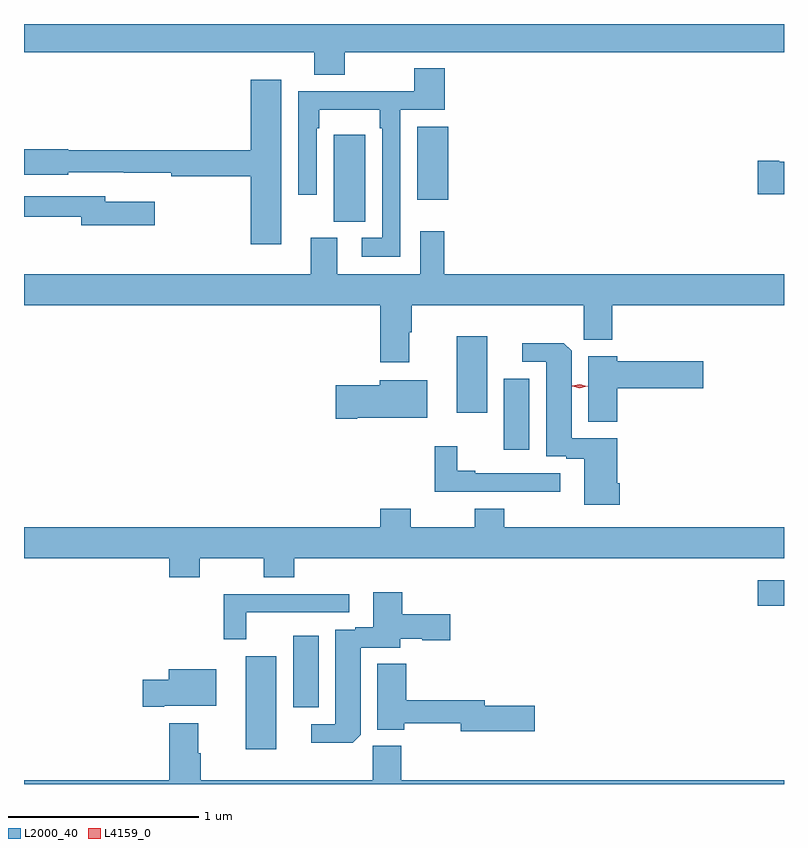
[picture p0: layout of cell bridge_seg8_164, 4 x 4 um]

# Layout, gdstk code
import gdstk
lib = gdstk.Library(unit=1e-6, precision=1e-09)
def R(c, l, rs):  # rectangles x0, y0, x1, y1
    for r in rs: c.add(gdstk.rectangle(r[:2], r[2:], *l))
def P(c, l, *ps):  # polygons
    for p in ps: c.add(gdstk.Polygon(p, *l))
L2000_40 = (2000, 40)
L4159_0 = (4159, 0)

bridge_seg8_164 = lib.new_cell('bridge_seg8_164')
R(bridge_seg8_164, L2000_40, [(565.367,1107.504,565.528,1107.994), (565.616,1107.726,565.75,1108.102), (568.062,1108.259,568.2,1108.393), (566.726,1109.079,566.86,1109.455), (566.477,1109.274,566.638,1109.677), (565.829,1110.281,565.996,1110.739), (566.27,1110.395,566.434,1110.781)])
P(bridge_seg8_164, L2000_40, [(565.887,1111.172),(568.2,1111.172),(568.2,1111.321),(564.2,1111.321),(564.2,1111.172),(565.727,1111.172),(565.727,1111.055),(565.887,1111.055)],
  [(566.181,1110.87),(566.414,1110.87),(566.414,1111.087),(566.254,1111.087),(566.254,1110.968),(565.988,1110.968),(565.988,1110.966),(565.644,1110.966),(565.644,1110.423),(565.74,1110.423),(565.74,1110.773),(565.753,1110.773),(565.753,1110.869),(566.073,1110.869),(566.073,1110.773),(566.085,1110.773),(566.085,1110.196),(565.977,1110.196),(565.977,1110.095),(566.181,1110.095)],
  [(565.555,1111.027),(565.394,1111.027),(565.394,1110.656),(564.432,1110.656),(564.432,1110.662),(564.2,1110.662),(564.2,1110.527),(564.432,1110.527),(564.432,1110.54),(564.724,1110.54),(564.724,1110.539),(564.976,1110.539),(564.976,1110.52),(565.394,1110.52),(565.394,1110.162),(565.555,1110.162)],
  [(568.2,1110.597),(568.174,1110.597),(568.174,1110.602),(568.062,1110.602),(568.062,1110.424),(568.2,1110.424)],
  [(564.889,1110.385),(564.628,1110.385),(564.628,1110.414),(564.2,1110.414),(564.2,1110.306),(564.5,1110.306),(564.5,1110.263),(564.889,1110.263)],
  [(566.227,1109.699),(566.24,1109.699),(566.24,1109.84),(567.145,1109.84),(567.145,1109.658),(567.296,1109.658),(567.296,1109.84),(568.2,1109.84),(568.2,1110.004),(566.411,1110.004),(566.411,1110.229),(566.285,1110.229),(566.285,1110.004),(565.849,1110.004),(565.849,1110.196),(565.709,1110.196),(565.709,1110.004),(564.2,1110.004),(564.2,1109.84),(566.075,1109.84),(566.075,1109.541),(566.227,1109.541)],
  [(567.335,1108.903),(567.322,1108.903),(567.322,1109.142),(567.082,1109.142),(567.082,1109.6),(567.04,1109.642),(566.823,1109.642),(566.823,1109.544),(566.948,1109.544),(566.948,1109.046),(567.053,1109.046),(567.053,1109.034),(567.149,1109.034),(567.149,1108.791),(567.335,1108.791)],
  [(567.323,1109.405),(567.775,1109.405),(567.775,1109.547),(567.323,1109.547),(567.323,1109.572),(567.17,1109.572),(567.17,1109.227),(567.323,1109.227)],
  [(565.954,1109.248),(566.323,1109.248),(566.323,1109.446),(566.072,1109.446),(566.072,1109.421),(565.842,1109.421),(565.842,1109.243),(565.954,1109.243)],
  [(567.022,1108.956),(566.575,1108.956),(566.575,1108.969),(566.481,1108.969),(566.481,1109.098),(566.362,1109.098),(566.362,1108.86),(567.022,1108.86)],
  [(565.125,1108.508),(565.462,1108.508),(565.462,1108.409),(565.622,1108.409),(565.622,1108.508),(568.2,1108.508),(568.2,1108.672),(566.727,1108.672),(566.727,1108.771),(566.572,1108.771),(566.572,1108.672),(566.235,1108.672),(566.235,1108.771),(566.075,1108.771),(566.075,1108.672),(564.2,1108.672),(564.2,1108.508),(564.965,1108.508),(564.965,1108.409),(565.125,1108.409)],
  [(565.972,1107.58),(565.972,1108.038),(566.179,1108.038),(566.179,1108.085),(566.296,1108.085),(566.296,1108.078),(566.443,1108.078),(566.443,1108.215),(566.192,1108.215),(566.192,1108.33),(566.039,1108.33),(566.039,1108.147),(565.943,1108.147),(565.943,1108.134),(565.838,1108.134),(565.838,1107.636),(565.713,1107.636),(565.713,1107.539),(565.931,1107.539)],
  [(565.371,1108.224),(565.912,1108.224),(565.912,1108.32),(565.252,1108.32),(565.252,1108.083),(565.371,1108.083)],
  [(566.887,1107.734),(566.626,1107.734),(566.626,1107.763),(566.213,1107.763),(566.213,1107.953),(566.06,1107.953),(566.06,1107.607),(566.2,1107.607),(566.2,1107.642),(566.498,1107.642),(566.498,1107.599),(566.887,1107.599)],
  [(564.937,1107.734),(565.213,1107.734),(565.213,1107.925),(564.962,1107.925),(564.962,1107.869),(564.825,1107.869),(564.825,1107.727),(564.937,1107.727)],
  [(568.2,1107.34),(566.186,1107.34),(566.186,1107.522),(566.035,1107.522),(566.035,1107.34),(565.13,1107.34),(565.13,1107.482),(565.117,1107.482),(565.117,1107.64),(564.965,1107.64),(564.965,1107.34),(564.2,1107.34),(564.2,1107.321),(568.2,1107.321)])
P(bridge_seg8_164, L4159_0, [(567.125,1109.405),(567.085,1109.415),(567.084,1109.415),(567.085,1109.416),(567.125,1109.425),(567.165,1109.415),(567.166,1109.415),(567.165,1109.415)])

lib.write_gds('bridge_seg8_164.gds')
